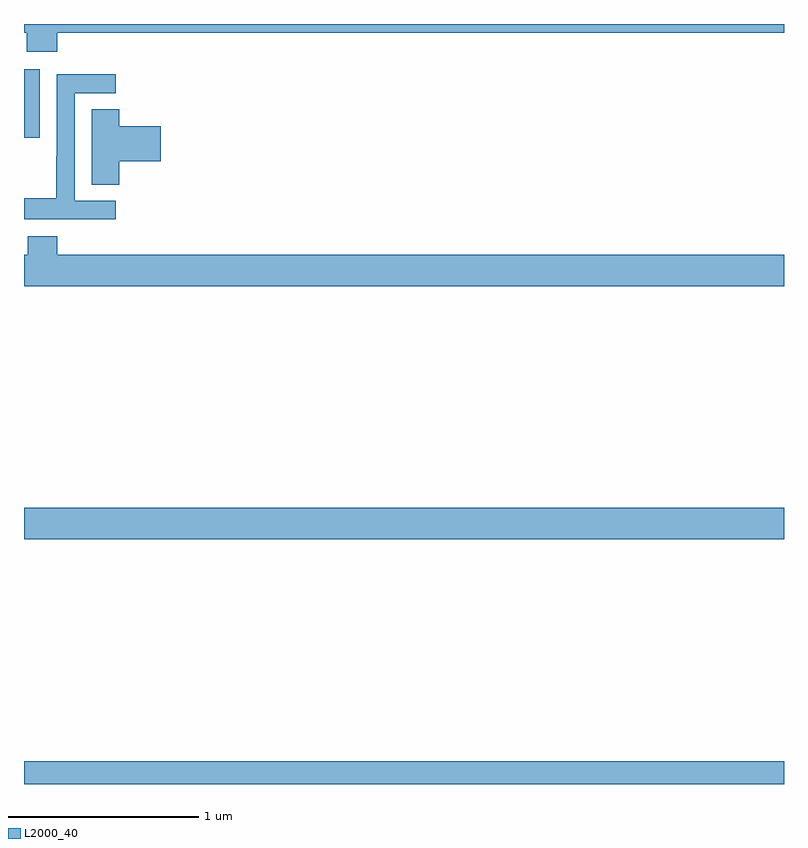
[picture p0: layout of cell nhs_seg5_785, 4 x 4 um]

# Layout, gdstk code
import gdstk
lib = gdstk.Library(unit=1e-6, precision=1e-09)
def R(c, l, rs):  # rectangles x0, y0, x1, y1
    for r in rs: c.add(gdstk.rectangle(r[:2], r[2:], *l))
def P(c, l, *ps):  # polygons
    for p in ps: c.add(gdstk.Polygon(p, *l))
L2000_40 = (2000, 40)

nhs_seg5_785 = lib.new_cell('nhs_seg5_785')
R(nhs_seg5_785, L2000_40, [(161,860.799,165,860.92), (161,862.088,165,862.252), (161,864.201,161.083,864.562)])
P(nhs_seg5_785, L2000_40, [(161.174,864.752),(165,864.752),(165,864.799),(161,864.799),(161,864.752),(161.014,864.752),(161.014,864.653),(161.174,864.653)],
  [(161.482,863.868),(161.268,863.868),(161.268,864.435),(161.482,864.435),(161.482,864.534),(161.172,864.534),(161.172,864.104),(161.17,864.104),(161.17,863.881),(161,863.881),(161,863.772),(161.482,863.772)],
  [(161.501,864.077),(161.719,864.077),(161.719,864.26),(161.501,864.26),(161.501,864.35),(161.357,864.35),(161.357,863.953),(161.501,863.953)],
  [(165,863.584),(161.174,863.584),(161.174,863.683),(161.021,863.683),(161.021,863.584),(161,863.584),(161,863.42),(165,863.42)])

lib.write_gds('nhs_seg5_785.gds')
